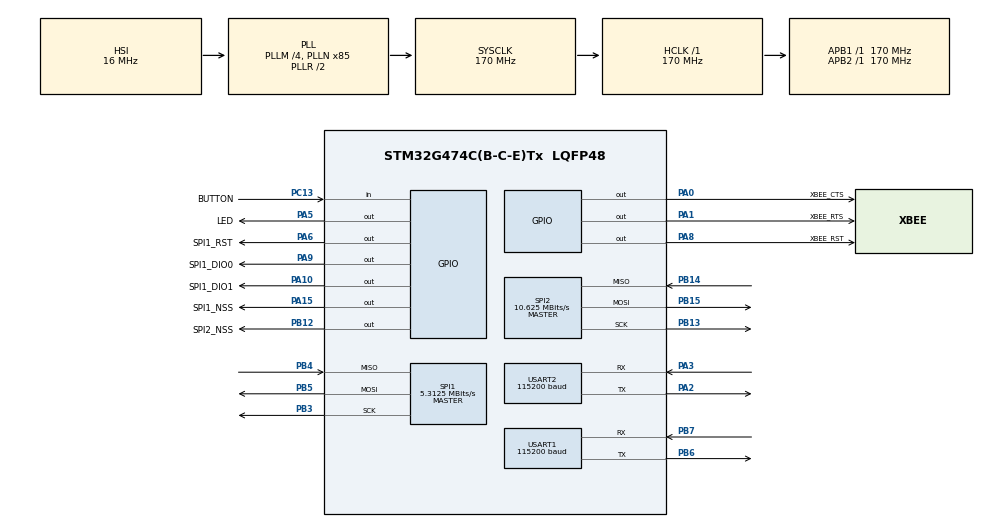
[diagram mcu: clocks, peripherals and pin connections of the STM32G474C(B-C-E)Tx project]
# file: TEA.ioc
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FATFS._MAX_SS=4096
FATFS._USE_LFN=2
Mcu.Family=STM32G4
Mcu.Name=STM32G474C(B-C-E)Tx
Mcu.Package=LQFP48
NVIC.PriorityGroup=NVIC_PRIORITYGROUP_4
NVIC.TIM2_IRQn=true\:0\:0\:false\:false\:true\:true\:true\:true
NVIC.TIM6_DAC_IRQn=true\:0\:0\:false\:false\:true\:true\:true\:true
NVIC.USART1_IRQn=true\:0\:0\:false\:false\:true\:true\:true\:true
NVIC.USART2_IRQn=true\:0\:0\:false\:false\:true\:true\:true\:true
PA0.GPIO_Label=XBEE_CTS
PA0.Signal=GPIO_Output
PA1.GPIO_Label=XBEE_RTS
PA1.Signal=GPIO_Output
PA10.GPIO_Label=SPI1_DIO1
PA10.Signal=GPIO_Output
PA13.Mode=Serial_Wire
PA13.Signal=SYS_JTMS-SWDIO
PA14.Mode=Serial_Wire
PA14.Signal=SYS_JTCK-SWCLK
PA15.GPIO_Label=SPI1_NSS
PA15.Signal=GPIO_Output
PA2.Mode=Asynchronous
PA2.Signal=USART2_TX
PA3.Mode=Asynchronous
PA3.Signal=USART2_RX
PA5.GPIO_Label=LED
PA5.Signal=GPIO_Output
PA6.GPIO_Label=SPI1_RST
PA6.Signal=GPIO_Output
PA8.GPIO_Label=XBEE_RST
PA8.Signal=GPIO_Output
PA9.GPIO_Label=SPI1_DIO0
PA9.Signal=GPIO_Output
PB12.GPIO_Label=SPI2_NSS
PB12.Signal=GPIO_Output
PB13.Mode=Full_Duplex_Master
PB13.Signal=SPI2_SCK
PB14.Mode=Full_Duplex_Master
PB14.Signal=SPI2_MISO
PB15.Mode=Full_Duplex_Master
PB15.Signal=SPI2_MOSI
PB3.Mode=Full_Duplex_Master
PB3.Signal=SPI1_SCK
PB4.Mode=Full_Duplex_Master
PB4.Signal=SPI1_MISO
PB5.Mode=Full_Duplex_Master
PB5.Signal=SPI1_MOSI
PB6.Mode=Asynchronous
PB6.Signal=USART1_TX
PB7.Mode=Asynchronous
PB7.Signal=USART1_RX
PC13.GPIO_Label=BUTTON
PC13.Signal=GPIO_Input
ProjectManager.HeapSize=0x200
ProjectManager.StackSize=0x400
ProjectManager.TargetToolchain=STM32CubeIDE
RCC.ADC12Freq_Value=170000000
RCC.ADC345Freq_Value=170000000
RCC.AHBFreq_Value=170000000
RCC.APB1Freq_Value=170000000
RCC.APB1TimFreq_Value=170000000
RCC.APB2Freq_Value=170000000
RCC.APB2TimFreq_Value=170000000
RCC.CortexFreq_Value=170000000
RCC.EXTERNAL_CLOCK_VALUE=12288000
RCC.HCLKFreq_Value=170000000
RCC.HSE_VALUE=8000000
RCC.HSI48_VALUE=48000000
RCC.HSI_VALUE=16000000
RCC.LSE_VALUE=32768
RCC.PLLM=RCC_PLLM_DIV4
RCC.PLLN=85
RCC.SYSCLKFreq_VALUE=170000000
RCC.SYSCLKSource=RCC_SYSCLKSOURCE_PLLCLK
RCC.USBFreq_Value=170000000
RCC.VCOOutputFreq_Value=340000000
SPI1.BaudRatePrescaler=SPI_BAUDRATEPRESCALER_32
SPI1.CalculateBaudRate=5.3125 MBits/s
SPI1.DataSize=SPI_DATASIZE_8BIT
SPI1.Direction=SPI_DIRECTION_2LINES
SPI1.Mode=SPI_MODE_MASTER
SPI1.VirtualType=VM_MASTER
SPI2.BaudRatePrescaler=SPI_BAUDRATEPRESCALER_16
SPI2.CalculateBaudRate=10.625 MBits/s
SPI2.DataSize=SPI_DATASIZE_8BIT
SPI2.Direction=SPI_DIRECTION_2LINES
SPI2.Mode=SPI_MODE_MASTER
SPI2.VirtualType=VM_MASTER
TIM2.AutoReloadPreload=TIM_AUTORELOAD_PRELOAD_DISABLE
TIM2.PeriodNoDither=17000
TIM2.Prescaler=1000
TIM6.Prescaler=170-1
USART1.BaudRate=115200
USART1.VirtualMode-Asynchronous=VM_ASYNC
USART2.BaudRate=115200
USART2.VirtualMode-Asynchronous=VM_ASYNC
VP_FATFS_VS_Generic.Mode=User_defined
VP_SYS_VS_DBSignals.Mode=DisableDeadBatterySignals
VP_TIM2_VS_ClockSourceINT.Mode=Internal
VP_TIM6_VS_ClockSourceINT.Mode=Enable_Timer
board=custom

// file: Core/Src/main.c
/* USER CODE BEGIN Header */

/*
	YILDIZ ROCKET TEAM
  TEA GROUND STATION COMPUTER

	Dogukan Yalcin
*/

/* USER CODE END Header */
#include "main.h"
#include "app_fatfs.h"
#include "spi.h"
#include "tim.h"
#include "usart.h"
#include "gpio.h"

/* USER CODE BEGIN Includes */
#include "LoRa.h"
#include "stdio.h"
#include "file_transmit.h"
#include "file_doprot_pc.h"

/* USER CODE END Includes */

/* USER CODE BEGIN PM */

// The file sent from the computer with Python.
/*
  ser.write(b'D')
  time.sleep(0.1)
  ser.write(open(file_name, 'rb').read())
*/

uint8_t *chunk_to_send;
uint8_t loraReceiveBuffer[100];
unsigned char olusturalacak_paket[79];
// char free_packet[250];
uint8_t *stringWithAllData[140];

Time time;
Accel accel;
Gyro gyro;
Altitude altitude;
Altitude altitudeContainer;
Velocity velocity;
Angle angle;
Gps payloadGps;
Gps containerGps;
Jei jei;

int payloadState;
int packetNo;
uint16_t teamNo;
uint16_t alt_difference;
uint8_t voltage;
int8_t spin;
int videoProcess;

SYSTEM_STATE systemState = START;

void combinePacketForInterface();
void parseSudoPacket();

void led(uint8_t state){
  if (state == 1){
    HAL_GPIO_WritePin(GPIOA, LED_Pin, GPIO_PIN_SET);
  }
  else{
    HAL_GPIO_WritePin(GPIOA, LED_Pin, GPIO_PIN_RESET);
  }
}

void led_notify(uint8_t count){
  for(uint8_t i = 0; i < count; i++){
    led(1);
    HAL_Delay(69);
    led(0);
    HAL_Delay(69);
  }
}

LoRa myLoRa;

void initLoRa()
{

	myLoRa = newLoRa();

	myLoRa.CS_port         = SPI1_NSS_GPIO_Port;
	myLoRa.CS_pin          = SPI1_NSS_Pin;
	myLoRa.reset_port      = SPI1_RST_GPIO_Port;
	myLoRa.reset_pin       = SPI1_RST_Pin;
	myLoRa.DIO0_port       = SPI1_DIO0_GPIO_Port;
	myLoRa.DIO0_pin        = SPI1_DIO0_Pin;
	myLoRa.hSPIx           = &hspi1;
	myLoRa.frequency = 433.663;			// default = 433 MHz
	myLoRa.spredingFactor = SF_9;		// default = SF_7
	myLoRa.bandWidth = BW_500KHz;		// default = BW_125KHz
	myLoRa.crcRate = CR_4_5;			// default = CR_4_5
	myLoRa.power = POWER_20db;			// default = 20db
	myLoRa.overCurrentProtection = 250; // default = 100 mA
	myLoRa.preamble = 8;				// default = 8;

	HAL_GPIO_WritePin(SPI1_RST_GPIO_Port, SPI1_RST_Pin, GPIO_PIN_SET);
	HAL_GPIO_WritePin(SPI1_NSS_GPIO_Port, SPI1_NSS_Pin, GPIO_PIN_SET);
	LoRa_reset(&myLoRa);
	uint16_t LoRa_status = LoRa_init(&myLoRa);
	HAL_Delay(100);
	LoRa_startReceiving(&myLoRa);

}
//

uint8_t loraTransmitPacket[4] = {0x00, 0x00, 0x00, 0x00};
uint32_t loraDelay;
uint32_t loraStatus = 0;

void HAL_TIM_PeriodElapsedCallback(TIM_HandleTypeDef *htim){

  if (htim == &htim2){

	  if(HAL_GetTick() - loraDelay > 1000){
      if (systemState == RECEIVING_FILE_FROM_PC) return;
      loraDelay = HAL_GetTick();

        LoRa_receive(&myLoRa, (uint8_t*) loraReceiveBuffer, sizeof(loraReceiveBuffer));
        parseSudoPacket();
        combinePacketForInterface();
        if (packetNo != 0)
          HAL_UART_Transmit(&huart1, stringWithAllData, strlen(stringWithAllData), 1000);
        LoRa_transmit(&myLoRa, loraTransmitPacket, sizeof(loraTransmitPacket), 100);

	  }
  }
}

void parseSudoCommand(uint8_t __receivedChar){
  switch (__receivedChar) {
        case BUZZER_ON_KEY:
          loraTransmitPacket[0] = BUZZER_ON;
          break;
        case BUZZER_OFF_KEY:
          loraTransmitPacket[0] = BUZZER_OFF;
          break;

        case SEPARATE_KEY:
          loraTransmitPacket[1] = SEPARATE;
          break;

        case REVERT_KEY:
          loraTransmitPacket[1] = REVERT;
          break;

        case MOTOR_STOP_KEY:
          loraTransmitPacket[2] = MOTOR_STOP;
          break;

        case MOTOR_START_TEST_KEY:
          loraTransmitPacket[2] = MOTOR_START_TEST;
          break;

        // case MOTOR_PID_TEST:
        //   loraTransmitPacket[2] = MOTOR_PID_TEST;
        //   break;

        // case MOTOR_QR_TEST:
        //   loraTransmitPacket[2] = MOTOR_QR_TEST;
        //   break;

        // case MOTOR_INPUT_TEST:
        //   loraTransmitPacket[2] = MOTOR_INPUT_TEST;
        //   break;

        default:
          // if (__receivedChar >= 0 && __receivedChar <= 1000) {
          //   loraTransmitPacket[3] = __receivedChar;
          // }
          break;
      }

}

#define RECEIVE_SUCCESSFUL 0x12
#define RECEIVE_FAILED 0x13

uint8_t was_the_transmission_successful;

uint8_t receivedChar;
void HAL_UART_RxCpltCallback(UART_HandleTypeDef *huart) {
    uint8_t retVal;

    if (huart->Instance == huart1.Instance) {  //PC
      retVal = gimmeTheBytePC(receivedChar);
      if (retVal == 2){
        systemState = RECEIVING_FILE_FROM_PC;
      }

      if (systemState != RECEIVING_FILE_FROM_PC){
        // get command from pc
        parseSudoCommand(receivedChar);
      }

      HAL_UART_Receive_IT(&huart1, &receivedChar, 1);
    }

    else if (huart->Instance == huart2.Instance ){ // Gonderici XBEE UART
      if ((uint8_t)receivedChar == (uint8_t)RECEIVE_SUCCESSFUL){
        am_i_ready_to_send_chunk = 1;
        was_the_transmission_successful = 1;
      }
      else if ((uint8_t)receivedChar == (uint8_t)RECEIVE_FAILED){
        am_i_ready_to_send_chunk = 1;
        was_the_transmission_successful = 0;
      }
      else {
        am_i_ready_to_send_chunk = 1;
        was_the_transmission_successful = 0;
      }

      HAL_UART_Receive_IT(&huart2, &receivedChar, 1);
    }

}

void HAL_GPIO_EXTI_Callback(uint16_t GPIO_Pin)
{
  if (GPIO_Pin == BUTTON_Pin){

  }
}
/* USER CODE END PM */

void SystemClock_Config(void);

int main(void)
{

  /* MCU Configuration--------------------------------------------------------*/

  /* Reset of all peripherals, Initializes the Flash interface and the Systick. */
  HAL_Init();

  /* Configure the system clock */
  SystemClock_Config();

  /* Initialize all configured peripherals */
  MX_GPIO_Init();
  MX_SPI1_Init();
  MX_USART1_UART_Init();
  MX_USART2_UART_Init();
  MX_SPI2_Init();
  MX_TIM2_Init();
  if (MX_FATFS_Init() != APP_OK) {
    Error_Handler();
  }
  MX_TIM6_Init();
  /* USER CODE BEGIN 2 */
  led_notify(5);
  mount_sd();
  writeSD("I Live For This S***\n");

  if (fr != FR_OK) {
    Error_Handler();
  }
  HAL_GPIO_WritePin(XBEE_RST_GPIO_Port,XBEE_RST_Pin, GPIO_PIN_SET );

  led(1);
  HAL_Delay(2000);

  initFileReceivePc(&huart1, 72000, NAME_OF_RECEIVED_FILE_FROM_PC, &receivedChar);
  initLoRa();
  HAL_TIM_Base_Start_IT(&htim2);
  led(0);

  systemState = LISTENING_PC_FOR_FILE;

  uint8_t retVal;
  uint8_t info_message[6];
  HAL_UART_Receive_IT(&huart2, &receivedChar, 1);

  /* USER CODE END 2 */

  /* Infinite loop */
  /* USER CODE BEGIN WHILE */
  while (1)
  {
    switch (systemState)
    {
    case START:

      break;
    case LISTENING_PC_FOR_FILE:

      break;

    case RECEIVING_FILE_FROM_PC:

      retVal = saveBufferToSD();
      if (retVal == 2){
    	  systemState = FILE_SENDING_TO_SKY;
        led_notify(5);
        HAL_UART_Receive_IT(&huart2, &receivedChar, 1);
        chunk_to_send = (uint8_t *) calloc(CHUNK_SIZE, sizeof(uint8_t));
        retVal = init_file_transmit(info_message);
        if (retVal != FR_OK) {
          //
        }
        while(am_i_ready_to_send_chunk == 0) {
          led(1);
          HAL_Delay(50);
          HAL_UART_Transmit(&huart2, (uint8_t *) info_message, 6, 1000);
          led(0);
          HAL_Delay(50);
          }

      }
      break;

    case FILE_SENDING_TO_SKY:
      led(0);
      retVal = create_chunk(chunk_to_send, was_the_transmission_successful);
      if (retVal == 1) {
          led(1);
          HAL_UART_Transmit(&huart2, (uint8_t *) chunk_to_send, CHUNK_SIZE, 3000);
      } else if(retVal == 2){
          led_notify(10);

          // ---------------------------------------------------------------

          systemState = FILE_TRANSMISSION_COMPLETED;
          free(chunk_to_send);
      }
      HAL_UART_Receive_IT(&huart2, &receivedChar, 1);

      break;

    case FILE_TRANSMISSION_COMPLETED:
      led(1);
      HAL_Delay(5000);
      led(0);
      HAL_Delay(5000);

      break;

    default:

      break;
    }

//    sprintf(stringWithAllData, "aslkdalksdmkla\n");
//
//    HAL_UART_Transmit(&huart2, stringWithAllData, strlen(stringWithAllData), 4000);
//    led_notify(5);

    /* USER CODE END WHILE */

  }
}

void SystemClock_Config(void)
{
  RCC_OscInitTypeDef RCC_OscInitStruct = {0};
  RCC_ClkInitTypeDef RCC_ClkInitStruct = {0};

  /** Configure the main internal regulator output voltage
  */
  HAL_PWREx_ControlVoltageScaling(PWR_REGULATOR_VOLTAGE_SCALE1_BOOST);

  /** Initializes the RCC Oscillators according to the specified parameters
  * in the RCC_OscInitTypeDef structure.
  */
  RCC_OscInitStruct.OscillatorType = RCC_OSCILLATORTYPE_HSI;
  RCC_OscInitStruct.HSIState = RCC_HSI_ON;
  RCC_OscInitStruct.HSICalibrationValue = RCC_HSICALIBRATION_DEFAULT;
  RCC_OscInitStruct.PLL.PLLState = RCC_PLL_ON;
  RCC_OscInitStruct.PLL.PLLSource = RCC_PLLSOURCE_HSI;
  RCC_OscInitStruct.PLL.PLLM = RCC_PLLM_DIV4;
  RCC_OscInitStruct.PLL.PLLN = 85;
  RCC_OscInitStruct.PLL.PLLP = RCC_PLLP_DIV2;
  RCC_OscInitStruct.PLL.PLLQ = RCC_PLLQ_DIV2;
  RCC_OscInitStruct.PLL.PLLR = RCC_PLLR_DIV2;
  if (HAL_RCC_OscConfig(&RCC_OscInitStruct) != HAL_OK)
  {
    Error_Handler();
  }

  /** Initializes the CPU, AHB and APB buses clocks
  */
  RCC_ClkInitStruct.ClockType = RCC_CLOCKTYPE_HCLK|RCC_CLOCKTYPE_SYSCLK
                              |RCC_CLOCKTYPE_PCLK1|RCC_CLOCKTYPE_PCLK2;
  RCC_ClkInitStruct.SYSCLKSource = RCC_SYSCLKSOURCE_PLLCLK;
  RCC_ClkInitStruct.AHBCLKDivider = RCC_SYSCLK_DIV1;
  RCC_ClkInitStruct.APB1CLKDivider = RCC_HCLK_DIV1;
  RCC_ClkInitStruct.APB2CLKDivider = RCC_HCLK_DIV1;

  if (HAL_RCC_ClockConfig(&RCC_ClkInitStruct, FLASH_LATENCY_4) != HAL_OK)
  {
    Error_Handler();
  }
}

/* USER CODE BEGIN 4 */

void parseSudoPacket(){
  u16_to_u8 converter16;
  float_to_u8 converter32;

  converter16.u8[0]= loraReceiveBuffer[0];
  converter16.u8[1]= loraReceiveBuffer[1];
  teamNo = converter16.u16;

  converter16.u8[0]= loraReceiveBuffer[2];
  converter16.u8[1]= loraReceiveBuffer[3];
  packetNo = converter16.u16;

  converter32.u8[0]= loraReceiveBuffer[4];
  converter32.u8[1]= loraReceiveBuffer[5];
  converter32.u8[2]= loraReceiveBuffer[6];
  converter32.u8[3]= loraReceiveBuffer[7];
  payloadGps.utc_time = converter32.u32;

  converter32.u8[0]= loraReceiveBuffer[8];
  converter32.u8[1]= loraReceiveBuffer[9];
  converter32.u8[2]= loraReceiveBuffer[10];
  converter32.u8[3]= loraReceiveBuffer[11];
  altitude.pressure = converter32.u32;

  converter32.u8[0]= loraReceiveBuffer[12];
  converter32.u8[1]= loraReceiveBuffer[13];
  converter32.u8[2]= loraReceiveBuffer[14];
  converter32.u8[3]= loraReceiveBuffer[15];
  jei.altitude = converter32.u32;

  converter32.u8[0]= loraReceiveBuffer[16];
  converter32.u8[1]= loraReceiveBuffer[17];
  converter32.u8[2]= loraReceiveBuffer[18];
  converter32.u8[3]= loraReceiveBuffer[19];
  altitude.altitude = converter32.u32;

  converter32.u8[0]= loraReceiveBuffer[20];
  converter32.u8[1]= loraReceiveBuffer[21];
  converter32.u8[2]= loraReceiveBuffer[22];
  converter32.u8[3]= loraReceiveBuffer[23];
  velocity.verticalVelocity = converter32.u32;

  altitude.temperature = (float)loraReceiveBuffer[24];
  voltage = (uint8_t)loraReceiveBuffer[25];

  converter32.u8[0]= loraReceiveBuffer[26];
  converter32.u8[1]= loraReceiveBuffer[27];
  converter32.u8[2]= loraReceiveBuffer[28];
  converter32.u8[3]= loraReceiveBuffer[29];
  jei.latitude = converter32.u32;

  converter32.u8[0]= loraReceiveBuffer[30];
  converter32.u8[1]= loraReceiveBuffer[31];
  converter32.u8[2]= loraReceiveBuffer[32];
  converter32.u8[3]= loraReceiveBuffer[33];
  jei.longtitude = converter32.u32;

  converter32.u8[0]= loraReceiveBuffer[34];
  converter32.u8[1]= loraReceiveBuffer[35];
  converter32.u8[2]= loraReceiveBuffer[36];
  converter32.u8[3]= loraReceiveBuffer[37];
  jei.gpsAltitude =(float) converter32.u32;

converter32.u8[0]= loraReceiveBuffer[38];
converter32.u8[1]= loraReceiveBuffer[39];
converter32.u8[2]= loraReceiveBuffer[40];
converter32.u8[3]= loraReceiveBuffer[41];
containerGps.latitude = converter32.u32;

converter32.u8[0]= loraReceiveBuffer[42];
converter32.u8[1]= loraReceiveBuffer[43];
converter32.u8[2]= loraReceiveBuffer[44];
converter32.u8[3]= loraReceiveBuffer[45];
containerGps.longitude = converter32.u32;

converter32.u8[0]= loraReceiveBuffer[46];
converter32.u8[1]= loraReceiveBuffer[47];
converter32.u8[2]= loraReceiveBuffer[48];
converter32.u8[3]= loraReceiveBuffer[49];
containerGps.altitude = converter32.u32;

  payloadState = (uint8_t)loraReceiveBuffer[50];

  converter32.u8[0]= loraReceiveBuffer[51];
  converter32.u8[1]= loraReceiveBuffer[52];
  converter32.u8[2]= loraReceiveBuffer[53];
  converter32.u8[3]= loraReceiveBuffer[54];
  angle.roll = converter32.u32;

  converter32.u8[0]= loraReceiveBuffer[55];
  converter32.u8[1]= loraReceiveBuffer[56];
  converter32.u8[2]= loraReceiveBuffer[57];
  converter32.u8[3]= loraReceiveBuffer[58];
  angle.pitch = converter32.u32;

  converter32.u8[0]= loraReceiveBuffer[59];
  converter32.u8[1]= loraReceiveBuffer[60];
  converter32.u8[2]= loraReceiveBuffer[61];
  converter32.u8[3]= loraReceiveBuffer[62];
  angle.yaw = converter32.u32;

  spin = (int8_t)loraReceiveBuffer[63];
  videoProcess = (int)loraReceiveBuffer[64];

  converter32.u8[0]= loraReceiveBuffer[65];
  converter32.u8[1]= loraReceiveBuffer[66];
  converter32.u8[2]= loraReceiveBuffer[67];
  converter32.u8[3]= loraReceiveBuffer[68];
  jei.pressure = converter32.u32;

  converter32.u8[0]= loraReceiveBuffer[69];
  converter32.u8[1]= loraReceiveBuffer[70];
  converter32.u8[2]= loraReceiveBuffer[71];
  converter32.u8[3]= loraReceiveBuffer[72];
  time.current= converter32.u32;

}

void combinePacketForInterface(){

//  sprintf(free_packet,"SUDO,%d,%d,%.2f,%.2f,%.2f,%.2f,%.2f,%.2f,%.2f,%.2f,%.2f,%.2f,%.2f,%.2f,%f,%f,%.2f,%f,%f,%.2f,%.2f,%.2f,%.2f,%.2f,%.2f\n",
//    packetNo,payloadState,altitude.pressure, altitudeContainer.pressure,altitude.altitude,altitudeContainer.altitude,velocity.verticalVelocity,altitude.temperature,accel.x,accel.y,accel.z,angle.pitch,angle.roll,angle.yaw, payloadGps.latitude, payloadGps.longitude, payloadGps.altitude,containerGps.latitude, containerGps.longitude, containerGps.altitude, maxG, maxSpeed, maxAltitude,parachuteForce, time.current);

	float a;
	a = jei.pressure;

    sprintf(stringWithAllData, "%d,%d,%f,%d,%.2f,%.2f,%f,%f,%.2f,%f,%f,%.2f,%.2f,%.2f,%.2f,%.2f,%.2f,%.2f,%.1f,%.2f,%.2f,%d,%.2f\n",
      teamNo, packetNo, payloadGps.utc_time + 30000.0, (int)payloadState, altitude.pressure, jei.pressure, payloadGps.latitude, payloadGps.longitude, payloadGps.altitude, jei.latitude, jei.longtitude, jei.gpsAltitude, velocity.verticalVelocity, altitude.temperature , angle.roll, angle.pitch, angle.yaw, voltage, (float)videoProcess, altitude.altitude, a, spin, jei.altitude);

}

/* USER CODE END 4 */

void Error_Handler(void)
{
  /* USER CODE BEGIN Error_Handler_Debug */
  /* User can add his own implementation to report the HAL error return state */
  __disable_irq();
  while (1)
  {
    led(0);
  }
  /* USER CODE END Error_Handler_Debug */
}
